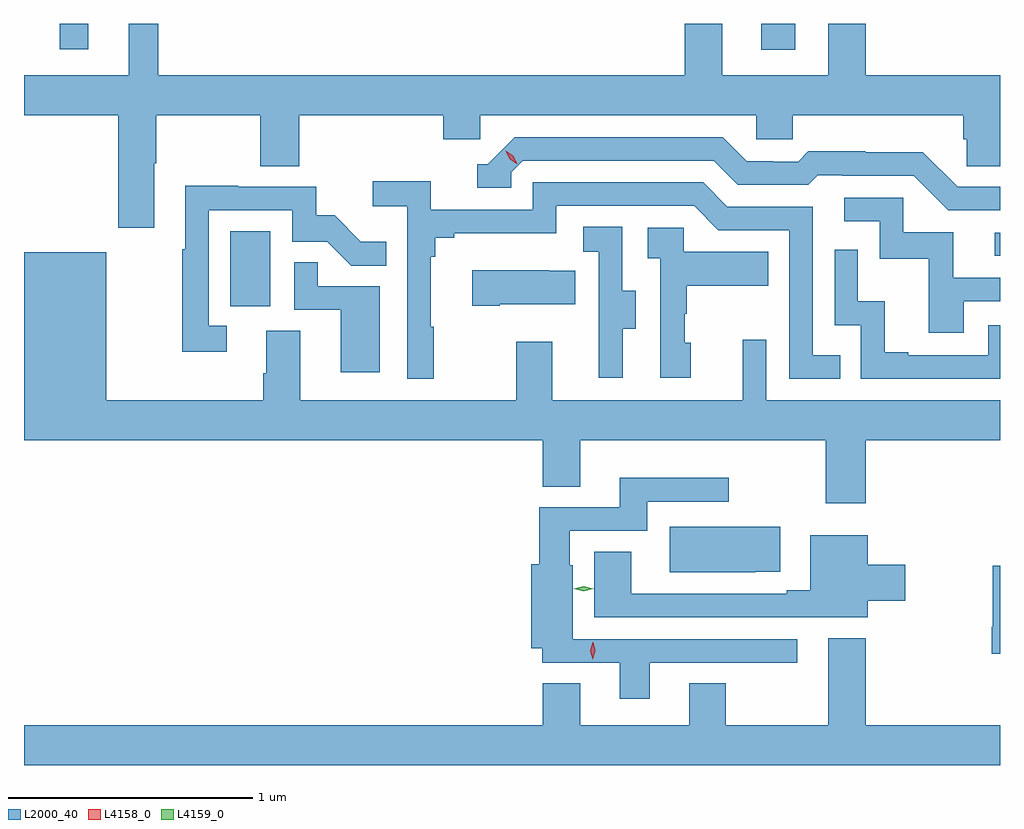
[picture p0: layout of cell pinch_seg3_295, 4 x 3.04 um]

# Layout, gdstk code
import gdstk
lib = gdstk.Library(unit=1e-6, precision=1e-09)
def R(c, l, rs):  # rectangles x0, y0, x1, y1
    for r in rs: c.add(gdstk.rectangle(r[:2], r[2:], *l))
def P(c, l, *ps):  # polygons
    for p in ps: c.add(gdstk.Polygon(p, *l))
L2000_40 = (2000, 40)
L4158_0 = (4158, 0)
L4159_0 = (4159, 0)

pinch_seg3_295 = lib.new_cell('pinch_seg3_295')
R(pinch_seg3_295, L2000_40, [(1010.252,721.446,1010.416,721.753), (1013.385,721.653,1013.406,721.746), (1012.427,722.496,1012.567,722.604), (1009.553,722.499,1009.669,722.604)])
P(pinch_seg3_295, L2000_40, [(1009.939,722.032),(1009.947,722.032),(1009.947,722.228),(1010.374,722.228),(1010.374,722.02),(1010.534,722.02),(1010.534,722.228),(1011.125,722.228),(1011.125,722.13),(1011.276,722.13),(1011.276,722.228),(1012.407,722.228),(1012.407,722.13),(1012.557,722.13),(1012.557,722.228),(1013.255,722.228),(1013.255,722.13),(1013.269,722.13),(1013.269,722.02),(1013.406,722.02),(1013.406,722.392),(1012.856,722.392),(1012.856,722.604),(1012.703,722.604),(1012.703,722.392),(1012.267,722.392),(1012.267,722.604),(1012.115,722.604),(1012.115,722.392),(1009.957,722.392),(1009.957,722.604),(1009.835,722.604),(1009.835,722.392),(1009.406,722.392),(1009.406,722.228),(1009.792,722.228),(1009.792,721.767),(1009.939,721.767)],
  [(1013.406,721.935),(1013.232,721.935),(1013.09,722.077),(1012.854,722.077),(1012.854,722.08),(1012.621,722.08),(1012.579,722.037),(1012.476,722.037),(1012.476,722.04),(1012.369,722.04),(1012.27,722.139),(1011.417,722.139),(1011.306,722.028),(1011.263,722.028),(1011.263,721.932),(1011.402,721.932),(1011.402,721.995),(1011.45,722.043),(1012.233,722.043),(1012.332,721.944),(1012.621,721.944),(1012.66,721.983),(1012.759,721.983),(1012.759,721.98),(1013.052,721.98),(1013.193,721.839),(1013.406,721.839)],
  [(1011.085,721.361),(1011.073,721.361),(1011.073,721.649),(1011.092,721.649),(1011.092,721.726),(1011.169,721.726),(1011.169,721.745),(1011.588,721.745),(1011.588,721.857),(1012.152,721.857),(1012.251,721.758),(1012.542,721.758),(1012.542,721.149),(1012.751,721.149),(1012.751,721.245),(1012.638,721.245),(1012.638,721.854),(1012.288,721.854),(1012.189,721.953),(1011.492,721.953),(1011.492,721.842),(1011.074,721.842),(1011.074,721.958),(1010.835,721.958),(1010.835,721.856),(1010.976,721.856),(1010.976,721.149),(1011.085,721.149)],
  [(1010.236,721.365),(1010.163,721.365),(1010.163,721.839),(1010.505,721.839),(1010.505,721.71),(1010.649,721.71),(1010.747,721.612),(1010.891,721.612),(1010.891,721.711),(1010.787,721.711),(1010.68,721.818),(1010.604,721.818),(1010.604,721.935),(1010.285,721.935),(1010.285,721.94),(1010.067,721.94),(1010.067,721.679),(1010.055,721.679),(1010.055,721.26),(1010.236,721.26)],
  [(1013.257,721.467),(1013.406,721.467),(1013.406,721.563),(1013.215,721.563),(1013.215,721.749),(1013.01,721.749),(1013.01,721.89),(1012.767,721.89),(1012.767,721.794),(1012.914,721.794),(1012.914,721.641),(1013.113,721.641),(1013.113,721.338),(1013.257,721.338)],
  [(1011.859,721.354),(1011.913,721.354),(1011.913,721.509),(1011.858,721.509),(1011.858,721.772),(1011.699,721.772),(1011.699,721.669),(1011.762,721.669),(1011.762,721.365),(1011.761,721.365),(1011.761,721.152),(1011.859,721.152)],
  [(1012.138,721.296),(1012.113,721.296),(1012.113,721.415),(1012.123,721.415),(1012.123,721.529),(1012.457,721.529),(1012.457,721.669),(1012.11,721.669),(1012.11,721.767),(1011.963,721.767),(1011.963,721.643),(1012.014,721.643),(1012.014,721.152),(1012.138,721.152)],
  [(1013.406,721.368),(1013.358,721.368),(1013.358,721.245),(1013.029,721.245),(1013.029,721.258),(1012.934,721.258),(1012.934,721.466),(1012.824,721.466),(1012.824,721.678),(1012.728,721.678),(1012.728,721.368),(1012.836,721.368),(1012.836,721.149),(1013.406,721.149)],
  [(1012.856,720.896),(1013.406,720.896),(1013.406,721.06),(1012.449,721.06),(1012.449,721.309),(1012.352,721.309),(1012.352,721.06),(1011.571,721.06),(1011.571,721.3),(1011.424,721.3),(1011.424,721.06),(1010.539,721.06),(1010.539,721.346),(1010.399,721.346),(1010.399,721.172),(1010.387,721.172),(1010.387,721.06),(1009.744,721.06),(1009.744,721.666),(1009.406,721.666),(1009.406,720.896),(1011.533,720.896),(1011.533,720.706),(1011.685,720.706),(1011.685,720.896),(1012.691,720.896),(1012.691,720.639),(1012.856,720.639)],
  [(1010.863,721.527),(1010.609,721.527),(1010.609,721.625),(1010.514,721.625),(1010.514,721.431),(1010.705,721.431),(1010.705,721.176),(1010.863,721.176)],
  [(1011.355,721.454),(1011.665,721.454),(1011.665,721.591),(1011.557,721.591),(1011.557,721.594),(1011.243,721.594),(1011.243,721.447),(1011.355,721.447)],
  [(1011.97,719.985),(1012.576,719.985),(1012.576,720.081),(1011.655,720.081),(1011.655,720.384),(1011.643,720.384),(1011.643,720.525),(1011.961,720.525),(1011.961,720.645),(1012.294,720.645),(1012.294,720.742),(1011.848,720.742),(1011.848,720.621),(1011.518,720.621),(1011.518,720.388),(1011.485,720.388),(1011.485,720.044),(1011.53,720.044),(1011.53,719.985),(1011.848,719.985),(1011.848,719.838),(1011.97,719.838)],
  [(1012.403,720.357),(1012.506,720.357),(1012.506,720.541),(1012.052,720.541),(1012.052,720.356),(1012.403,720.356)],
  [(1012.864,720.239),(1013.017,720.239),(1013.017,720.386),(1012.864,720.386),(1012.864,720.508),(1012.628,720.508),(1012.628,720.281),(1012.532,720.281),(1012.532,720.267),(1011.895,720.267),(1011.895,720.439),(1011.743,720.439),(1011.743,720.171),(1012.864,720.171)],
  [(1013.406,720.382),(1013.377,720.382),(1013.377,720.133),(1013.372,720.133),(1013.372,720.022),(1013.406,720.022)],
  [(1013.406,719.728),(1012.856,719.728),(1012.856,720.085),(1012.703,720.085),(1012.703,719.728),(1012.281,719.728),(1012.281,719.9),(1012.133,719.9),(1012.133,719.728),(1011.685,719.728),(1011.685,719.9),(1011.533,719.9),(1011.533,719.728),(1009.406,719.728),(1009.406,719.564),(1013.406,719.564)])
P(pinch_seg3_295, L4158_0, [(1011.737,719.998),(1011.737,719.998),(1011.727,720.033),(1011.737,720.069),(1011.737,720.069),(1011.738,720.069),(1011.747,720.033),(1011.737,719.998)],
  [(1011.426,722.029),(1011.396,722.049),(1011.38,722.082),(1011.38,722.083),(1011.38,722.083),(1011.411,722.062),(1011.427,722.029),(1011.427,722.029)])
P(pinch_seg3_295, L4159_0, [(1011.7,720.278),(1011.66,720.287),(1011.659,720.287),(1011.66,720.288),(1011.7,720.298),(1011.74,720.288),(1011.741,720.288),(1011.74,720.288)])

lib.write_gds('pinch_seg3_295.gds')
